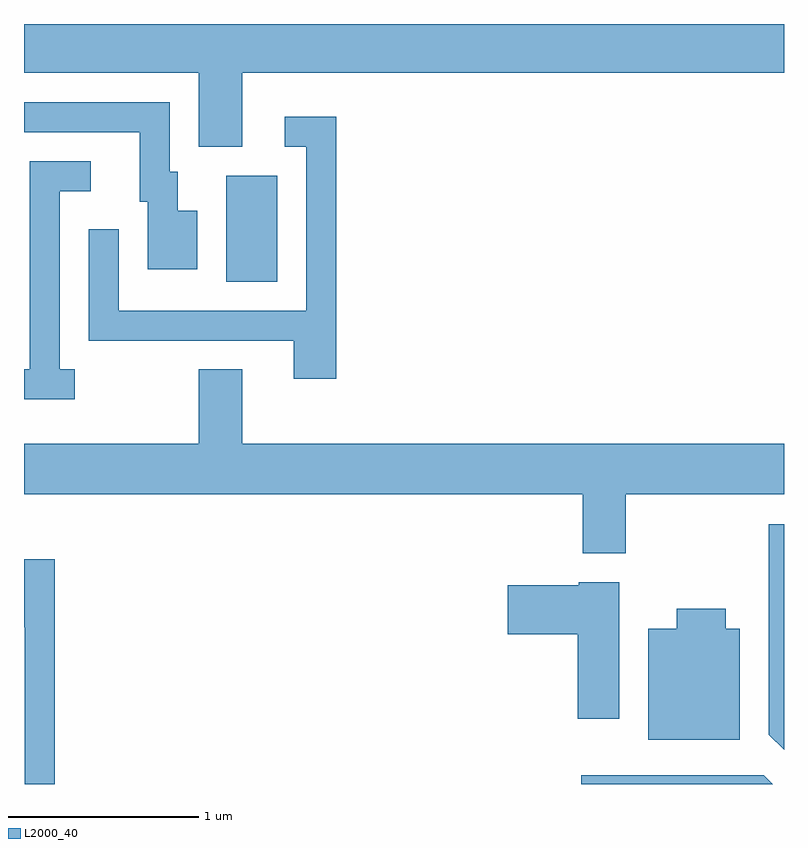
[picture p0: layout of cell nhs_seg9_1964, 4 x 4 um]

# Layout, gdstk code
import gdstk
lib = gdstk.Library(unit=1e-6, precision=1e-09)
def R(c, l, rs):  # rectangles x0, y0, x1, y1
    for r in rs: c.add(gdstk.rectangle(r[:2], r[2:], *l))
def P(c, l, *ps):  # polygons
    for p in ps: c.add(gdstk.Polygon(p, *l))
L2000_40 = (2000, 40)

nhs_seg9_1964 = lib.new_cell('nhs_seg9_1964')
R(nhs_seg9_1964, L2000_40, [(242.676,2075.076,242.944,2075.634)])
P(nhs_seg9_1964, L2000_40, [(242.759,2076.176),(245.611,2076.176),(245.611,2076.432),(241.611,2076.432),(241.611,2076.176),(242.531,2076.176),(242.531,2075.786),(242.759,2075.786)],
  [(242.524,2075.449),(242.419,2075.449),(242.419,2075.654),(242.379,2075.654),(242.379,2076.019),(241.611,2076.019),(241.611,2075.861),(242.221,2075.861),(242.221,2075.496),(242.261,2075.496),(242.261,2075.141),(242.524,2075.141)],
  [(243.254,2075.944),(242.983,2075.944),(242.983,2075.786),(243.096,2075.786),(243.096,2074.924),(242.109,2074.924),(242.109,2075.353),(241.951,2075.353),(241.951,2074.766),(243.031,2074.766),(243.031,2074.566),(243.254,2074.566)],
  [(241.878,2074.614),(241.799,2074.614),(241.799,2075.551),(241.963,2075.551),(241.963,2075.709),(241.641,2075.709),(241.641,2074.614),(241.611,2074.614),(241.611,2074.456),(241.878,2074.456)],
  [(244.779,2073.956),(245.611,2073.956),(245.611,2074.224),(242.759,2074.224),(242.759,2074.614),(242.531,2074.614),(242.531,2074.224),(241.611,2074.224),(241.611,2073.956),(244.551,2073.956),(244.551,2073.646),(244.779,2073.646)],
  [(245.611,2073.799),(245.531,2073.799),(245.531,2072.692),(245.611,2072.612)],
  [(241.774,2073.614),(241.611,2073.614),(241.611,2073.256),(241.616,2073.256),(241.616,2072.432),(241.774,2072.432)],
  [(244.744,2073.494),(244.53,2073.494),(244.53,2073.479),(244.156,2073.479),(244.156,2073.221),(244.526,2073.221),(244.526,2072.776),(244.744,2072.776)],
  [(245.379,2073.249),(245.304,2073.249),(245.304,2073.354),(245.046,2073.354),(245.046,2073.249),(244.896,2073.249),(244.896,2072.666),(245.379,2072.666)],
  [(245.504,2072.479),(244.543,2072.479),(244.543,2072.432),(245.551,2072.432)])

lib.write_gds('nhs_seg9_1964.gds')
